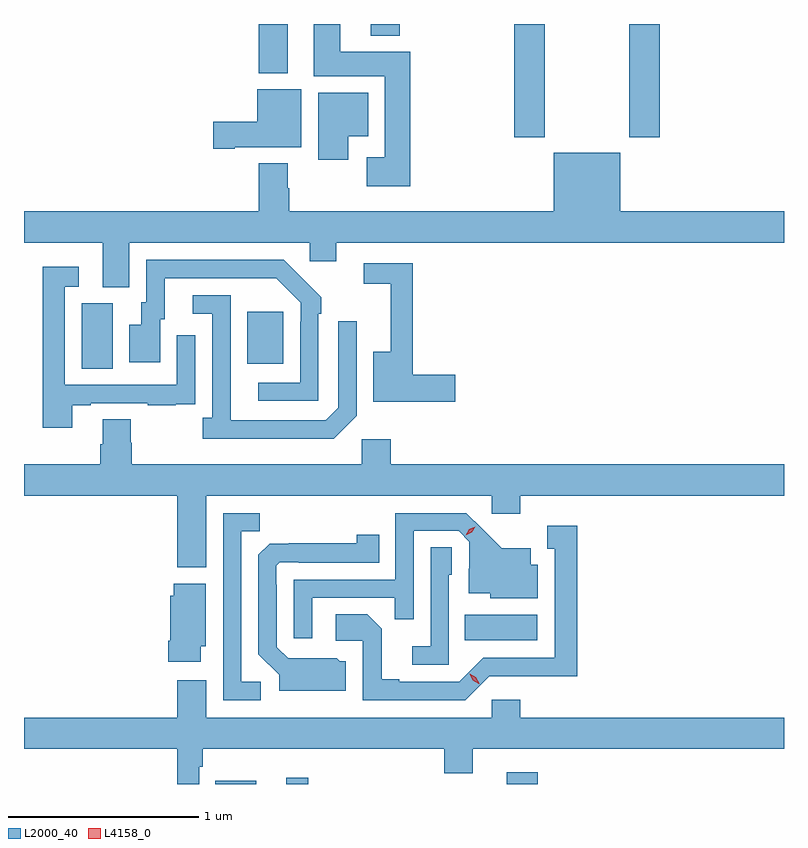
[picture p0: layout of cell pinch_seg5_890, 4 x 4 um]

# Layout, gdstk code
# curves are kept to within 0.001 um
import gdstk
lib = gdstk.Library(unit=1e-6, precision=1e-09)
def R(c, l, rs):  # rectangles x0, y0, x1, y1
    for r in rs: c.add(gdstk.rectangle(r[:2], r[2:], *l))
def P(c, l, *ps):  # polygons
    for p in ps: c.add(gdstk.Polygon(p, *l))
L2000_40 = (2000, 40)
L4158_0 = (4158, 0)

pinch_seg5_890 = lib.new_cell('pinch_seg5_890')
R(pinch_seg5_890, L2000_40, [(746.554,891.206,746.77,891.223), (746.928,891.206,747.044,891.238), (748.088,891.206,748.252,891.268), (747.868,891.962,748.249,892.096), (745.85,893.392,746.014,893.736), (746.723,893.417,746.911,893.692), (748.127,894.609,748.287,895.206), (748.732,894.609,748.892,895.206), (746.783,894.947,746.935,895.206), (747.371,895.145,747.524,895.206)])
P(pinch_seg5_890, L2000_40, [(747.581,895.06),(747.211,895.06),(747.211,895.206),(747.071,895.206),(747.071,894.932),(747.446,894.932),(747.446,894.505),(747.351,894.505),(747.351,894.353),(747.581,894.353)],
  [(746.656,894.557),(747.007,894.557),(747.007,894.862),(746.774,894.862),(746.774,894.692),(746.544,894.692),(746.544,894.55),(746.656,894.55)],
  [(747.253,894.614),(747.358,894.614),(747.358,894.844),(747.095,894.844),(747.095,894.492),(747.253,894.492)],
  [(746.101,894.056),(747.051,894.056),(747.051,893.958),(747.19,893.958),(747.19,894.056),(749.547,894.056),(749.547,894.22),(748.684,894.22),(748.684,894.529),(748.334,894.529),(748.334,894.22),(746.943,894.22),(746.943,894.341),(746.935,894.341),(746.935,894.472),(746.783,894.472),(746.783,894.22),(745.547,894.22),(745.547,894.056),(745.961,894.056),(745.961,893.821),(746.101,893.821)],
  [(747.096,893.681),(747.111,893.681),(747.111,893.769),(746.914,893.964),(746.19,893.964),(746.19,893.742),(746.165,893.742),(746.165,893.623),(746.102,893.623),(746.102,893.427),(746.263,893.427),(746.263,893.652),(746.287,893.652),(746.287,893.868),(746.875,893.868),(747.003,893.739),(747.003,893.639),(747,893.639),(747,893.319),(746.781,893.319),(746.781,893.223),(747.096,893.223)],
  [(747.817,893.36),(747.593,893.36),(747.593,893.946),(747.336,893.946),(747.336,893.838),(747.476,893.838),(747.476,893.482),(747.386,893.482),(747.386,893.218),(747.817,893.218)],
  [(745.801,893.199),(745.897,893.199),(745.897,893.211),(746.197,893.211),(746.197,893.199),(746.345,893.199),(746.345,893.205),(746.447,893.205),(746.447,893.314),(746.448,893.314),(746.448,893.569),(746.352,893.569),(746.352,893.307),(745.761,893.307),(745.761,893.823),(745.834,893.823),(745.834,893.929),(745.645,893.929),(745.645,893.082),(745.801,893.082)],
  [(747.297,893.145),(747.297,893.641),(747.201,893.641),(747.201,893.187),(747.135,893.121),(746.635,893.121),(746.634,893.778),(746.436,893.778),(746.436,893.682),(746.538,893.682),(746.538,893.134),(746.487,893.134),(746.487,893.024),(747.176,893.024)],
  [(746.506,892.724),(748.008,892.724),(748.008,892.629),(748.16,892.629),(748.16,892.724),(749.547,892.724),(749.547,892.888),(747.476,892.888),(747.476,893.02),(747.324,893.02),(747.324,892.888),(746.114,892.888),(746.114,893.001),(746.109,893.001),(746.109,893.126),(745.961,893.126),(745.961,892.994),(745.949,892.994),(745.949,892.888),(745.547,892.888),(745.547,892.724),(746.354,892.724),(746.354,892.346),(746.506,892.346)],
  [(746.794,891.744),(746.691,891.744),(746.691,892.537),(746.787,892.537),(746.787,892.632),(746.595,892.632),(746.595,891.648),(746.794,891.648)],
  [(747.063,892.185),(747.499,892.185),(747.499,892.072),(747.597,892.072),(747.597,892.539),(747.834,892.539),(747.891,892.482),(747.891,892.34),(747.887,892.34),(747.887,892.211),(748.002,892.211),(748.002,892.184),(748.252,892.184),(748.252,892.36),(748.213,892.36),(748.213,892.447),(748.061,892.447),(747.874,892.632),(747.501,892.632),(747.501,892.281),(746.967,892.281),(746.967,891.972),(747.063,891.972)],
  [(747.996,891.774),(748.459,891.773),(748.459,892.564),(748.301,892.564),(748.301,892.443),(748.34,892.443),(748.34,891.87),(747.963,891.87),(747.837,891.744),(747.523,891.744),(747.523,891.757),(747.429,891.757),(747.429,892.024),(747.353,892.1),(747.189,892.1),(747.189,891.96),(747.33,891.96),(747.33,891.648),(747.87,891.648)],
  [(747.241,891.852),(747.21,891.852),(747.194,891.868),(746.937,891.867),(746.877,891.927),(746.877,892.256),(746.874,892.256),(746.874,892.356),(746.892,892.374),(746.992,892.374),(746.992,892.371),(747.416,892.371),(747.416,892.519),(747.298,892.519),(747.298,892.472),(746.84,892.471),(746.781,892.412),(746.781,891.89),(746.891,891.78),(746.891,891.698),(747.241,891.698)],
  [(747.783,892.308),(747.798,892.308),(747.798,892.451),(747.687,892.451),(747.687,891.931),(747.591,891.931),(747.591,891.834),(747.783,891.834)],
  [(746.476,891.93),(746.503,891.93),(746.503,892.261),(746.336,892.261),(746.336,892.197),(746.318,892.197),(746.318,891.961),(746.306,891.961),(746.306,891.849),(746.476,891.849)],
  [(746.469,891.296),(746.489,891.296),(746.489,891.392),(747.758,891.392),(747.758,891.262),(747.91,891.262),(747.91,891.392),(749.547,891.392),(749.547,891.556),(748.16,891.556),(748.16,891.649),(748.008,891.649),(748.008,891.556),(746.506,891.556),(746.506,891.751),(746.354,891.751),(746.354,891.556),(745.547,891.556),(745.547,891.392),(746.353,891.392),(746.353,891.206),(746.469,891.206)])
P(pinch_seg5_890, L4158_0, [(747.873,892.516),(747.873,892.516),(747.89,892.546),(747.921,892.561),(747.922,892.561),(747.922,892.561),(747.904,892.532),(747.873,892.516)],
  [(747.941,891.734),(747.91,891.753),(747.893,891.786),(747.893,891.786),(747.893,891.786),(747.924,891.767),(747.942,891.735),(747.942,891.734)])

lib.write_gds('pinch_seg5_890.gds')
